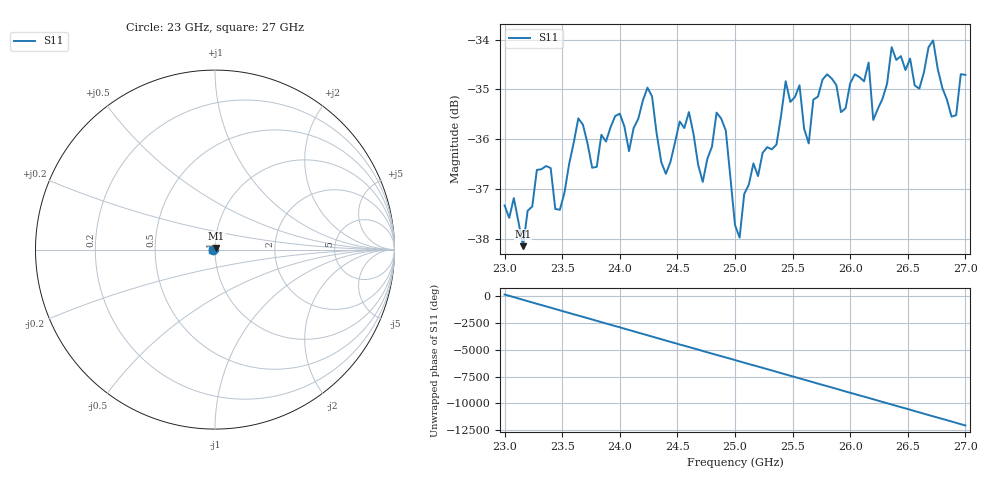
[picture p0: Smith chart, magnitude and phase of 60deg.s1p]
#  HZ  S  RI  R  50.00
! Rohde & Schwarz ZVA40 4Ports - Version 3.90 - 1145.1110k42 SN: 100403
! Date: 2023-09-26 10:49:52
! Measurement: S12
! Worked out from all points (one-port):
!   101 points, 23 GHz to 27 GHz, reference 50 ohm
!   lowest |S11| = -38.1 dB at 23.16 GHz (marker M1), VSWR 1.03, Z = 50.8 + j0.93 ohm
!   |S11| at or under -10 dB: start of sweep to end of sweep
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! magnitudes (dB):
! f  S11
! 23 GHz  -37.3
! 23.16 GHz  -38.1
! 23.28 GHz  -36.6
! 23.52 GHz  -37.1
! 23.64 GHz  -35.6
! 23.76 GHz  -36.6
! 24 GHz  -35.5
! 24.08 GHz  -36.2
! 24.24 GHz  -35.0
! 24.4 GHz  -36.7
! 24.52 GHz  -35.6
! 24.72 GHz  -36.9
! 24.88 GHz  -35.6
! 25 GHz  -37.7
! 25.36 GHz  -36.1
! 25.44 GHz  -34.8
! 25.52 GHz  -35.2
! 25.64 GHz  -36.1
! 25.76 GHz  -34.8
! 26 GHz  -34.9
! 26.16 GHz  -34.5
! 26.2 GHz  -35.6
! 26.36 GHz  -34.2
! 26.52 GHz  -34.4
! 26.6 GHz  -35.0
! 26.72 GHz  -34.0
! 26.88 GHz  -35.5
! 27 GHz  -34.7
